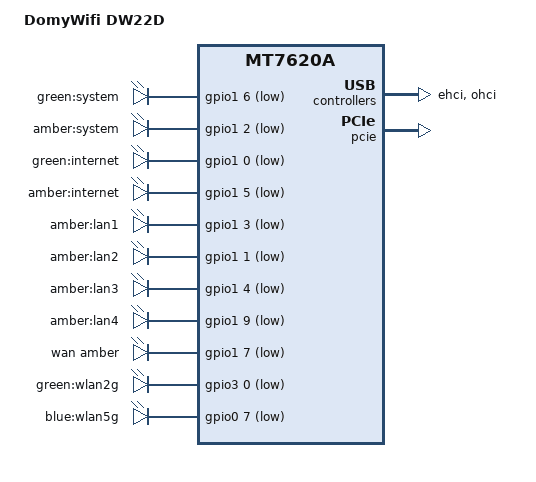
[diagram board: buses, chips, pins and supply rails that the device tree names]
#include "mt7620a_domywifi.dtsi"

/ {
	compatible = "domywifi,dw22d", "ralink,mt7620a-soc";
	model = "DomyWifi DW22D";

        aliases {
		led-boot = &led_system;
		led-failsafe = &led_system;
		led-running = &led_system;
		led-upgrade = &led_system;
	};
        
        leds {
		compatible = "gpio-leds";

		led_system_green: system_green {
			label = "green:system";
			gpios = <&gpio1 6 GPIO_ACTIVE_LOW>;
		};

		led_system_amber: system_amber {
			label = "amber:system";
			gpios = <&gpio1 2 GPIO_ACTIVE_LOW>;
		};

		internet_green {
			label = "green:internet";
			gpios = <&gpio1 0 GPIO_ACTIVE_LOW>;
		};

		internet_amber {
			label = "amber:internet";
			gpios = <&gpio1 5 GPIO_ACTIVE_LOW>;
		};

               
		lan1 {
			label = "amber:lan1";
			gpios = <&gpio1 3 GPIO_ACTIVE_LOW>;
		};

		lan2 {
			label = "amber:lan2";
			gpios = <&gpio1 1 GPIO_ACTIVE_LOW>;
		};

		lan3 {
			label = "amber:lan3";
			gpios = <&gpio1 4 GPIO_ACTIVE_LOW>;
		};

		lan4 {
			label = "amber:lan4";
			gpios = <&gpio1 9 GPIO_ACTIVE_LOW>;
		};

		wan {
			function = LED_FUNCTION_WAN;
			color = <LED_COLOR_ID_AMBER>;
			gpios = <&gpio1 7 GPIO_ACTIVE_LOW>;
		};

		wlan2g {
			label = "green:wlan2g";
			gpios = <&gpio3 0 GPIO_ACTIVE_LOW>;
			linux,default-trigger = "phy1tpt";
		};
		wlan5g {
			label = "blue:wlan5g";
			gpios = <&gpio0 7 GPIO_ACTIVE_LOW>;
			linux,default-trigger = "phy0tpt";
		};
 };
		gpio_export {
		compatible = "gpio-export";
		#size-cells = <0>;
	};

};
&ehci {
	status = "okay";
};

&ohci {
	status = "okay";
};

&pcie {
	status = "okay";
};

&pcie0 {
	mt76@0,0 {
		reg = <0x0000 0 0 0 0>;
		mediatek,mtd-eeprom = <&factory 0x8000>;
		ieee80211-freq-limit = <5000000 6000000>;
	};
};
